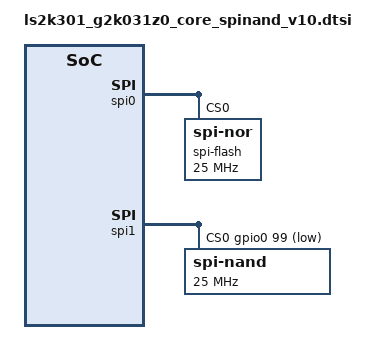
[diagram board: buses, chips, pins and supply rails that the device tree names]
#include "ls2k300.dtsi"
#include "ls2k300_ddr_samsung_512m.dtsi"
#include <dt-bindings/gpio/gpio.h>

/ {
	chosen {
		stdout-path = "serial0:115200n8";
		bootargs = "earlycon";
	};

	reserved-memory {
		#address-cells = <2>;
		#size-cells = <2>;
		ranges;

		bootparam: bootparam_region {
			reg = <0x90000000 0x0f000000 0x0 0x1000000>;
			no-map;
		};
	};

};

&spi0 {
	status = "okay";

	spi-flash@0 {
		compatible = "jedec,spi-nor";
		spi-max-frequency = <25000000>; /* input clock */
		reg = <0>; /* CS0 */
	};
};

&spi1 {
	status = "okay";
	/* CS is software-controlled via GPIO pin 99 (active low) */
	cs-gpios = <&gpio0 99 GPIO_ACTIVE_LOW>;

	spi-nand@0 {
		compatible = "spi-nand";
		spi-max-frequency = <25000000>; /* input clock */
		reg = <0>; /* CS index 0 -> cs-gpios[0] */
	};
};

&emmc0 {
	status = "disabled";
};
